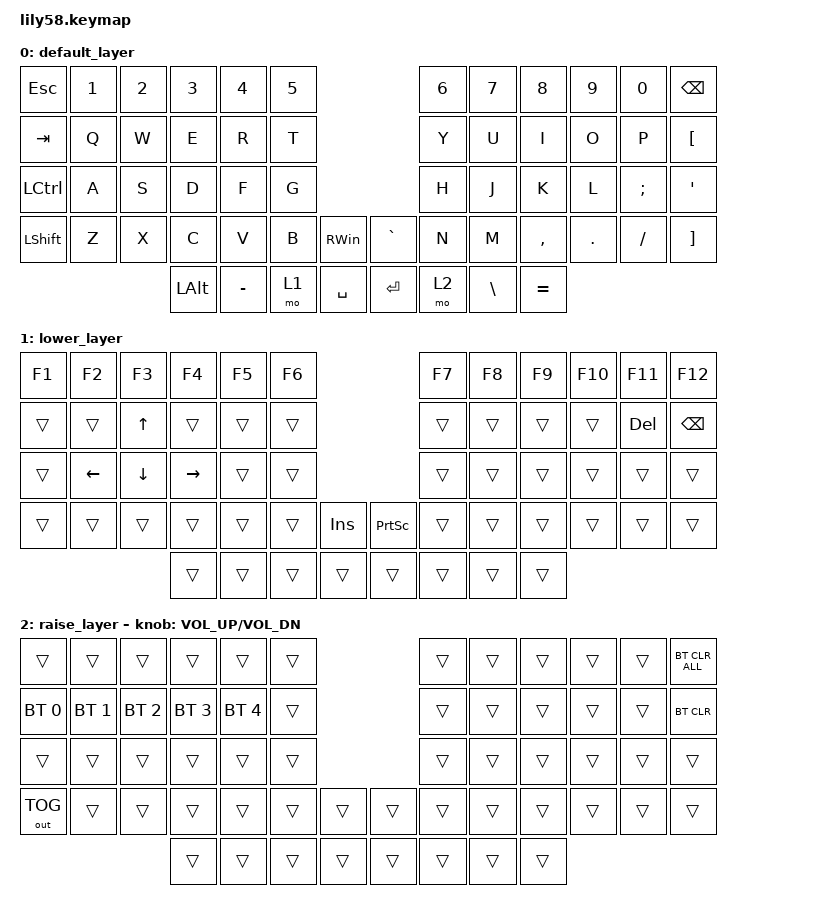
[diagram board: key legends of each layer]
/*
 * Copyright (c) 2020 The ZMK Contributors
 *
 * SPDX-License-Identifier: MIT
 */

#include <behaviors.dtsi>
#include <dt-bindings/zmk/bt.h>
#include <dt-bindings/zmk/keys.h>
#include <dt-bindings/zmk/outputs.h>

/ {
    combos {
        compatible = "zmk,combos";

        combo_esc {
            timeout-ms = <50>;
            key-positions = <0 1>;
            bindings = <&kp ESC>;
        };
    };

    behaviors {
        ss_hs_modmorph: ss_hs_modmorph {
            compatible = "zmk,behavior-mod-morph";
            label = "SS_HS_MODMORPH";
            bindings = <&kp M>, <&kp RIGHT_BRACKET>;

            #binding-cells = <0>;
            mods = <(MOD_LSFT|MOD_RSFT)>;
        };

        kh_hs_tapdance: kh_hs_tapdance {
            compatible = "zmk,behavior-tap-dance";
            label = "KH_HS_TAPDANCE";
            #binding-cells = <0>;
            tapping-term-ms = <200>;
            bindings = <&kp LEFT_BRACKET>, <&kp RIGHT_BRACKET>;
        };

        hrm: hrm {
            compatible = "zmk,behavior-hold-tap";
            #binding-cells = <2>;
            flavor = "tap-preferred";
            tapping-term-ms = <200>;
            quick-tap-ms = <200>;
            require-prior-idle-ms = <125>;
            bindings = <&kp>, <&kp>;
        };
    };

    keymap {
        compatible = "zmk,keymap";

        default_layer {
            // ------------------------------------------------------------------------------------------------------------
            // |  ESC  |  1  |  2  |  3   |  4   |  5   |                   |  6   |  7    |  8    |  9   |   0   |   `   |
            // |  TAB  |  Q  |  W  |  E   |  R   |  T   |                   |  Y   |  U    |  I    |  O   |   P   |   -   |
            // |  CTRL |  A  |  S  |  D   |  F   |  G   |                   |  H   |  J    |  K    |  L   |   ;   |   '   |
            // | SHIFT |  Z  |  X  |  C   |  V   |  B   |   "["  |  |  "]"  |  N   |  M    |  ,    |  .   |   /   | SHIFT |
            //                     | ALT  | GUI  | LOWER|  SPACE |  | ENTER | RAISE| BSPC  | GUI   |

            bindings = <
&kp ESC           &kp N1  &kp N2  &kp N3    &kp N4     &kp N5                              &kp N6  &kp N7    &kp N8     &kp N9   &kp N0    &kp BACKSPACE
&kp TAB           &kp Q   &kp W   &kp E     &kp R      &kp T                               &kp Y   &kp U     &kp I      &kp O    &kp P     &kp LEFT_BRACKET
&kp LEFT_CONTROL  &kp A   &kp S   &kp D     &kp F      &kp G                               &kp H   &kp J     &kp K      &kp L    &kp SEMI  &kp SQT
&kp LSHFT         &kp Z   &kp X   &kp C     &kp V      &kp B   &kp RIGHT_WIN    &kp GRAVE  &kp N   &kp M     &kp COMMA  &kp DOT  &kp FSLH  &kp RIGHT_BRACKET
                                  &kp LALT  &kp MINUS  &mo 1   &kp SPACE        &kp RET    &mo 2   &kp BSLH  &kp EQUAL
            >;
        };

        lower_layer {
            // ------------------------------------------------------------------------------------------------------------
            // | BTCLR | BT1 | BT2 |  BT3 |  BT4 |  BT5 |                   |      |       |       |      |       |       |
            // |  F1   |  F2 |  F3 |  F4  |  F5  |  F6  |                   |  F7  |  F8   |  F9   |  F10 |  F11  |  F12  |
            // |   `   |  !  |  @  |  #   |  $   |  %   |                   |  ^   |  &    |  *    |  (   |   )   |   ~   |
            // |       |     |     |      |      |      |        |  |       |      |  _    |  +    |  {   |   }   |  "|"  |
            //                     |      |      |      |        |  |       |      |       |       |

            bindings = <
&kp F1  &kp F2          &kp F3          &kp F4           &kp F5  &kp F6                                 &kp F7  &kp F8  &kp F9  &kp F10  &kp F11  &kp F12
&trans  &trans          &kp UP_ARROW    &trans           &trans  &trans                                 &trans  &trans  &trans  &trans   &kp DEL  &kp BACKSPACE
&trans  &kp LEFT_ARROW  &kp DOWN_ARROW  &kp RIGHT_ARROW  &trans  &trans                                 &trans  &trans  &trans  &trans   &trans   &trans
&trans  &trans          &trans          &trans           &trans  &trans  &kp INSERT    &kp PRINTSCREEN  &trans  &trans  &trans  &trans   &trans   &trans
                                        &trans           &trans  &trans  &trans        &trans           &trans  &trans  &trans
            >;
        };

        raise_layer {
            // ------------------------------------------------------------------------------------------------------------
            // |       |     |     |      |      |      |                   |      |       |       |      |       |       |
            // |   `   |  1  |  2  |  3   |  4   |  5   |                   |  6   |   7   |   8   |  9   |   0   |       |
            // |   F1  |  F2 |  F3 |  F4  |  F5  |  F6  |                   |      |   <-  |   v   |  ^   |  ->   |       |
            // |   F7  |  F8 |  F9 |  F10 |  F11 |  F12 |        |  |       |  +   |   -   |   =   |  [   |   ]   |   \   |
            //                     |      |      |      |        |  |       |      |       |       |

            bindings = <
&trans        &trans        &trans        &trans        &trans        &trans                    &trans  &trans  &trans  &trans  &trans  &bt BT_CLR_ALL
&bt BT_SEL 0  &bt BT_SEL 1  &bt BT_SEL 2  &bt BT_SEL 3  &bt BT_SEL 4  &trans                    &trans  &trans  &trans  &trans  &trans  &bt BT_CLR
&trans        &trans        &trans        &trans        &trans        &trans                    &trans  &trans  &trans  &trans  &trans  &trans
&out OUT_TOG  &trans        &trans        &trans        &trans        &trans  &trans    &trans  &trans  &trans  &trans  &trans  &trans  &trans
                                          &trans        &trans        &trans  &trans    &trans  &trans  &trans  &trans
            >;

            sensor-bindings = <&inc_dec_kp C_VOL_UP C_VOL_DN>;
        };
    };
};
